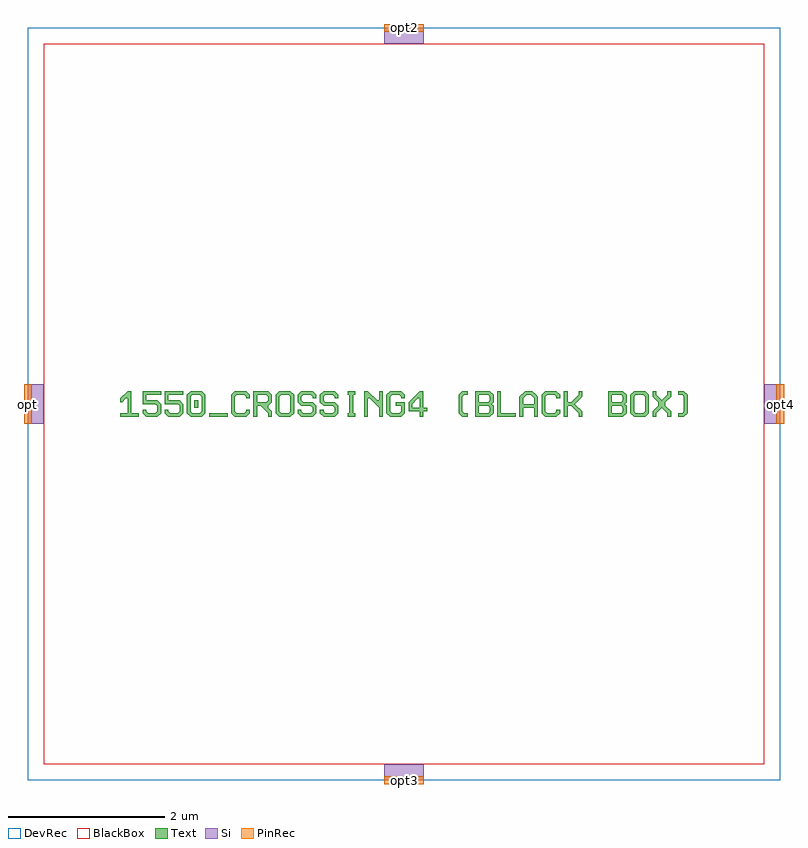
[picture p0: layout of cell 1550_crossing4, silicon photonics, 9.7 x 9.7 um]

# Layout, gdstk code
import gdstk
lib = gdstk.Library(unit=1e-6, precision=1e-09)
def R(c, l, rs):  # rectangles x0, y0, x1, y1
    for r in rs: c.add(gdstk.rectangle(r[:2], r[2:], *l))
def P(c, l, *ps):  # polygons
    for p in ps: c.add(gdstk.Polygon(p, *l))
Si = (1, 0)
PinRec = (1, 10)
Text = (10, 0)
DevRec = (68, 0)
BlackBox = (998, 0)

text = lib.new_cell('TEXT')
R(text, Text, [(1.132,0,1.368,0.047), (0.943,0.118,0.991,0.212)])
P(text, Text, [(0,0),(0,0.047),(0.094,0.047),(0.094,0.236),(0.071,0.236),(0.024,0.189),(0,0.189),(0,0.236),(0.094,0.33),(0.142,0.33),(0.142,0.047),(0.236,0.047),(0.236,0)],
  [(0.33,0),(0.283,0.047),(0.283,0.094),(0.33,0.094),(0.33,0.071),(0.354,0.047),(0.448,0.047),(0.472,0.071),(0.472,0.142),(0.448,0.165),(0.283,0.165),(0.283,0.33),(0.519,0.33),(0.519,0.283),(0.33,0.283),(0.33,0.212),(0.472,0.212),(0.519,0.165),(0.519,0.047),(0.472,0)],
  [(0.613,0),(0.566,0.047),(0.566,0.094),(0.613,0.094),(0.613,0.071),(0.637,0.047),(0.731,0.047),(0.755,0.071),(0.755,0.142),(0.731,0.165),(0.566,0.165),(0.566,0.33),(0.802,0.33),(0.802,0.283),(0.613,0.283),(0.613,0.212),(0.755,0.212),(0.802,0.165),(0.802,0.047),(0.755,0)],
  [(0.896,0),(0.849,0.047),(0.849,0.283),(0.896,0.33),(1.038,0.33),(1.085,0.283),(0.92,0.283),(0.896,0.259),(0.896,0.071),(0.92,0.047),(1.014,0.047),(1.038,0.071),(1.038,0.259),(1.014,0.283),(1.085,0.283),(1.085,0.047),(1.038,0)],
  [(1.462,0),(1.415,0.047),(1.415,0.283),(1.462,0.33),(1.604,0.33),(1.651,0.283),(1.651,0.236),(1.604,0.236),(1.604,0.259),(1.58,0.283),(1.486,0.283),(1.462,0.259),(1.462,0.071),(1.486,0.047),(1.58,0.047),(1.604,0.071),(1.604,0.094),(1.651,0.094),(1.651,0.047),(1.604,0)],
  [(1.698,0),(1.698,0.33),(1.887,0.33),(1.934,0.283),(1.745,0.283),(1.745,0.189),(1.863,0.189),(1.887,0.212),(1.887,0.259),(1.863,0.283),(1.934,0.283),(1.934,0.189),(1.887,0.142),(1.887,0.118),(1.934,0.071),(1.934,0),(1.887,0),(1.887,0.047),(1.792,0.142),(1.745,0.142),(1.745,0)],
  [(2.028,0),(1.981,0.047),(1.981,0.283),(2.028,0.33),(2.17,0.33),(2.217,0.283),(2.217,0.165),(2.17,0.165),(2.17,0.259),(2.146,0.283),(2.052,0.283),(2.028,0.259),(2.028,0.071),(2.052,0.047),(2.146,0.047),(2.17,0.071),(2.17,0.165),(2.217,0.165),(2.217,0.047),(2.17,0)],
  [(2.311,0),(2.264,0.047),(2.264,0.094),(2.311,0.094),(2.311,0.071),(2.335,0.047),(2.429,0.047),(2.453,0.071),(2.453,0.118),(2.429,0.142),(2.311,0.142),(2.264,0.189),(2.264,0.283),(2.311,0.33),(2.453,0.33),(2.5,0.283),(2.5,0.236),(2.453,0.236),(2.453,0.259),(2.429,0.283),(2.335,0.283),(2.311,0.259),(2.311,0.212),(2.335,0.189),(2.453,0.189),(2.5,0.142),(2.5,0.047),(2.453,0)],
  [(2.594,0),(2.547,0.047),(2.547,0.094),(2.594,0.094),(2.594,0.071),(2.618,0.047),(2.712,0.047),(2.736,0.071),(2.736,0.118),(2.712,0.142),(2.594,0.142),(2.547,0.189),(2.547,0.283),(2.594,0.33),(2.736,0.33),(2.783,0.283),(2.783,0.236),(2.736,0.236),(2.736,0.259),(2.712,0.283),(2.618,0.283),(2.594,0.259),(2.594,0.212),(2.618,0.189),(2.736,0.189),(2.783,0.142),(2.783,0.047),(2.736,0)],
  [(2.901,0),(2.901,0.047),(2.924,0.047),(2.924,0.283),(2.901,0.283),(2.901,0.33),(2.995,0.33),(2.995,0.283),(2.972,0.283),(2.972,0.047),(2.995,0.047),(2.995,0)],
  [(3.113,0),(3.113,0.33),(3.16,0.33),(3.278,0.212),(3.302,0.212),(3.302,0.33),(3.349,0.33),(3.349,0),(3.302,0),(3.302,0.118),(3.184,0.236),(3.16,0.236),(3.16,0)],
  [(3.443,0),(3.396,0.047),(3.396,0.283),(3.443,0.33),(3.585,0.33),(3.632,0.283),(3.632,0.236),(3.585,0.236),(3.585,0.259),(3.561,0.283),(3.467,0.283),(3.443,0.259),(3.443,0.071),(3.467,0.047),(3.561,0.047),(3.585,0.071),(3.585,0.142),(3.514,0.142),(3.514,0.189),(3.632,0.189),(3.632,0.047),(3.585,0)],
  [(3.821,0),(3.821,0.071),(3.679,0.071),(3.679,0.118),(3.821,0.118),(3.821,0.236),(3.797,0.236),(3.726,0.165),(3.726,0.118),(3.679,0.118),(3.679,0.189),(3.821,0.33),(3.868,0.33),(3.868,0.118),(3.915,0.118),(3.915,0.071),(3.868,0.071),(3.868,0)],
  [(4.363,0),(4.316,0.047),(4.316,0.283),(4.363,0.33),(4.434,0.33),(4.434,0.283),(4.387,0.283),(4.363,0.259),(4.363,0.071),(4.387,0.047),(4.434,0.047),(4.434,0)],
  [(4.528,0),(4.528,0.33),(4.717,0.33),(4.764,0.283),(4.575,0.283),(4.575,0.189),(4.693,0.189),(4.717,0.212),(4.717,0.259),(4.693,0.283),(4.764,0.283),(4.764,0.189),(4.74,0.165),(4.764,0.142),(4.575,0.142),(4.575,0.047),(4.693,0.047),(4.717,0.071),(4.717,0.118),(4.693,0.142),(4.764,0.142),(4.764,0.047),(4.717,0)],
  [(4.811,0),(4.811,0.33),(4.858,0.33),(4.858,0.047),(5.047,0.047),(5.047,0)],
  [(5.094,0),(5.094,0.259),(5.165,0.33),(5.259,0.33),(5.306,0.283),(5.188,0.283),(5.141,0.236),(5.141,0.165),(5.283,0.165),(5.283,0.236),(5.236,0.283),(5.306,0.283),(5.33,0.259),(5.33,0),(5.283,0),(5.283,0.118),(5.141,0.118),(5.141,0)],
  [(5.424,0),(5.377,0.047),(5.377,0.283),(5.424,0.33),(5.566,0.33),(5.613,0.283),(5.613,0.236),(5.566,0.236),(5.566,0.259),(5.542,0.283),(5.448,0.283),(5.424,0.259),(5.424,0.071),(5.448,0.047),(5.542,0.047),(5.566,0.071),(5.566,0.094),(5.613,0.094),(5.613,0.047),(5.566,0)],
  [(5.66,0),(5.66,0.33),(5.707,0.33),(5.707,0.189),(5.754,0.189),(5.849,0.283),(5.849,0.33),(5.896,0.33),(5.896,0.259),(5.802,0.165),(5.896,0.071),(5.896,0),(5.849,0),(5.849,0.047),(5.754,0.142),(5.707,0.142),(5.707,0)],
  [(6.226,0),(6.226,0.33),(6.415,0.33),(6.462,0.283),(6.273,0.283),(6.273,0.189),(6.391,0.189),(6.415,0.212),(6.415,0.259),(6.391,0.283),(6.462,0.283),(6.462,0.189),(6.438,0.165),(6.462,0.142),(6.273,0.142),(6.273,0.047),(6.391,0.047),(6.415,0.071),(6.415,0.118),(6.391,0.142),(6.462,0.142),(6.462,0.047),(6.415,0)],
  [(6.556,0),(6.509,0.047),(6.509,0.283),(6.556,0.33),(6.698,0.33),(6.745,0.283),(6.745,0.165),(6.698,0.165),(6.698,0.259),(6.674,0.283),(6.58,0.283),(6.556,0.259),(6.556,0.071),(6.58,0.047),(6.674,0.047),(6.698,0.071),(6.698,0.165),(6.745,0.165),(6.745,0.047),(6.698,0)],
  [(6.792,0),(6.792,0.071),(6.863,0.142),(6.863,0.189),(6.792,0.259),(6.792,0.33),(6.839,0.33),(6.839,0.283),(6.91,0.212),(6.981,0.283),(6.981,0.33),(7.028,0.33),(7.028,0.259),(6.957,0.189),(6.957,0.142),(7.028,0.071),(7.028,0),(6.981,0),(6.981,0.047),(6.91,0.118),(6.839,0.047),(6.839,0)],
  [(7.122,0),(7.122,0.047),(7.169,0.047),(7.193,0.071),(7.193,0.259),(7.169,0.283),(7.122,0.283),(7.122,0.33),(7.193,0.33),(7.24,0.283),(7.24,0.047),(7.193,0)])

c_1550_crossing4 = lib.new_cell('1550_crossing4')
R(c_1550_crossing4, Si, [(-0.25,-4.8,0.25,-4.6), (-4.8,-0.25,-4.6,0.25), (4.6,-0.25,4.8,0.25), (-0.25,4.6,0.25,4.8)])
R(c_1550_crossing4, DevRec, [(-4.8,-4.8,4.8,4.8)])
R(c_1550_crossing4, BlackBox, [(-4.6,-4.6,4.6,4.6)])
c_1550_crossing4.add(gdstk.FlexPath([(-4.75,0),(-4.85,0)], 0.5, ends="flush", simple_path=True, layer=1, datatype=10))  # PinRec
c_1550_crossing4.add(gdstk.FlexPath([(4.75,0),(4.85,0)], 0.5, ends="flush", simple_path=True, layer=1, datatype=10))  # PinRec
c_1550_crossing4.add(gdstk.FlexPath([(0,-4.75),(0,-4.85)], 0.5, ends="flush", simple_path=True, layer=1, datatype=10))  # PinRec
c_1550_crossing4.add(gdstk.FlexPath([(0,4.75),(0,4.85)], 0.5, ends="flush", simple_path=True, layer=1, datatype=10))  # PinRec
c_1550_crossing4.add(gdstk.Reference(text, (-3.62,-0.165)))
c_1550_crossing4.add(gdstk.Label('opt4', (4.8,0), layer=1, texttype=10))
c_1550_crossing4.add(gdstk.Label('opt2', (0,4.8), layer=1, texttype=10))
c_1550_crossing4.add(gdstk.Label('opt', (-4.8,0), layer=1, texttype=10))
c_1550_crossing4.add(gdstk.Label('opt3', (0,-4.8), layer=1, texttype=10))

lib.write_gds('1550_crossing4.gds')
